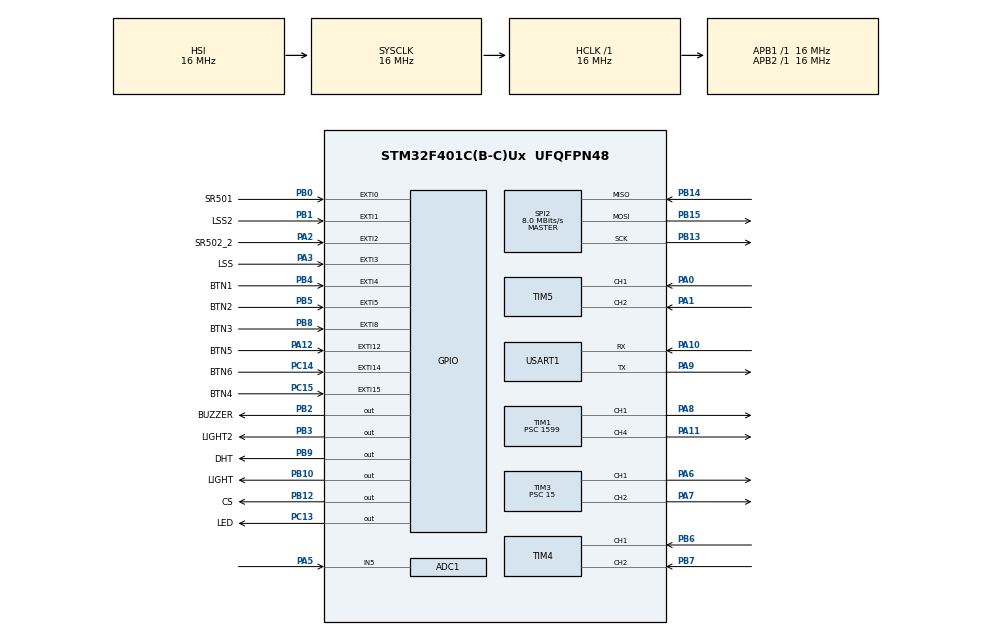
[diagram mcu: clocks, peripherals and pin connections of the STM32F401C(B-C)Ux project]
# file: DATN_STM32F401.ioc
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ADC1.Channel-0\#ChannelRegularConversion=ADC_CHANNEL_5
ADC1.NbrOfConversionFlag=1
ADC1.Rank-0\#ChannelRegularConversion=1
ADC1.SamplingTime-0\#ChannelRegularConversion=ADC_SAMPLETIME_3CYCLES
ADC1.master=1
Mcu.Family=STM32F4
Mcu.Name=STM32F401C(B-C)Ux
Mcu.Package=UFQFPN48
NVIC.EXTI0_IRQn=true\:5\:0\:true\:false\:true\:true\:true\:true
NVIC.EXTI15_10_IRQn=true\:6\:0\:true\:false\:true\:true\:true\:true
NVIC.EXTI1_IRQn=true\:5\:0\:true\:false\:true\:true\:true\:true
NVIC.EXTI2_IRQn=true\:5\:0\:true\:false\:true\:true\:true\:true
NVIC.EXTI3_IRQn=true\:5\:0\:true\:false\:true\:true\:true\:true
NVIC.EXTI4_IRQn=true\:6\:0\:true\:false\:true\:true\:true\:true
NVIC.EXTI9_5_IRQn=true\:6\:0\:true\:false\:true\:true\:true\:true
NVIC.PriorityGroup=NVIC_PRIORITYGROUP_4
NVIC.SPI2_IRQn=true\:7\:0\:true\:false\:true\:true\:true\:true
NVIC.TIM3_IRQn=true\:13\:0\:true\:false\:true\:true\:true\:true
NVIC.USART1_IRQn=true\:14\:0\:true\:false\:true\:true\:true\:true
PA0-WKUP.Signal=S_TIM5_CH1
PA1.Signal=S_TIM5_CH2
PA10.Mode=Asynchronous
PA10.Signal=USART1_RX
PA11.Signal=S_TIM1_CH4
PA12.GPIO_Label=BTN5
PA12.GPIO_ModeDefaultEXTI=GPIO_MODE_IT_FALLING
PA12.GPIO_PuPd=GPIO_PULLUP
PA12.Signal=GPXTI12
PA13.Mode=Serial_Wire
PA13.Signal=SYS_JTMS-SWDIO
PA14.Mode=Serial_Wire
PA14.Signal=SYS_JTCK-SWCLK
PA2.GPIO_Label=SR502_2
PA2.GPIO_ModeDefaultEXTI=GPIO_MODE_IT_RISING_FALLING
PA2.Signal=GPXTI2
PA3.GPIO_Label=LSS
PA3.GPIO_ModeDefaultEXTI=GPIO_MODE_IT_RISING_FALLING
PA3.Signal=GPXTI3
PA5.Signal=ADCx_IN5
PA6.Signal=S_TIM3_CH1
PA7.Signal=S_TIM3_CH2
PA8.Signal=S_TIM1_CH1
PA9.Mode=Asynchronous
PA9.Signal=USART1_TX
PB0.GPIO_Label=SR501
PB0.GPIO_ModeDefaultEXTI=GPIO_MODE_IT_RISING_FALLING
PB0.Signal=GPXTI0
PB1.GPIO_Label=LSS2
PB1.GPIO_ModeDefaultEXTI=GPIO_MODE_IT_RISING_FALLING
PB1.Signal=GPXTI1
PB10.GPIO_Label=LIGHT
PB10.Signal=GPIO_Output
PB12.GPIO_Label=CS
PB12.Signal=GPIO_Output
PB13.Mode=Full_Duplex_Master
PB13.Signal=SPI2_SCK
PB14.Mode=Full_Duplex_Master
PB14.Signal=SPI2_MISO
PB15.Mode=Full_Duplex_Master
PB15.Signal=SPI2_MOSI
PB2.GPIO_Label=BUZZER
PB2.PinState=GPIO_PIN_SET
PB2.Signal=GPIO_Output
PB3.GPIO_Label=LIGHT2
PB3.Signal=GPIO_Output
PB4.GPIO_Label=BTN1
PB4.GPIO_ModeDefaultEXTI=GPIO_MODE_IT_FALLING
PB4.GPIO_PuPd=GPIO_PULLUP
PB4.Signal=GPXTI4
PB5.GPIO_Label=BTN2
PB5.GPIO_ModeDefaultEXTI=GPIO_MODE_IT_FALLING
PB5.GPIO_PuPd=GPIO_PULLUP
PB5.Signal=GPXTI5
PB6.Signal=S_TIM4_CH1
PB7.Signal=S_TIM4_CH2
PB8.GPIO_Label=BTN3
PB8.GPIO_ModeDefaultEXTI=GPIO_MODE_IT_FALLING
PB8.GPIO_PuPd=GPIO_PULLUP
PB8.Signal=GPXTI8
PB9.GPIO_Label=DHT
PB9.GPIO_Speed=GPIO_SPEED_FREQ_HIGH
PB9.PinState=GPIO_PIN_RESET
PB9.Signal=GPIO_Output
PC13-ANTI_TAMP.GPIO_Label=LED
PC13-ANTI_TAMP.Signal=GPIO_Output
PC14-OSC32_IN.GPIO_Label=BTN6
PC14-OSC32_IN.GPIO_ModeDefaultEXTI=GPIO_MODE_IT_FALLING
PC14-OSC32_IN.GPIO_PuPd=GPIO_PULLUP
PC14-OSC32_IN.Signal=GPXTI14
PC15-OSC32_OUT.GPIO_Label=BTN4
PC15-OSC32_OUT.GPIO_ModeDefaultEXTI=GPIO_MODE_IT_FALLING
PC15-OSC32_OUT.GPIO_PuPd=GPIO_PULLUP
PC15-OSC32_OUT.Signal=GPXTI15
PH0\ -\ OSC_IN.Mode=HSE-External-Oscillator
PH0\ -\ OSC_IN.Signal=RCC_OSC_IN
PH1\ -\ OSC_OUT.Mode=HSE-External-Oscillator
PH1\ -\ OSC_OUT.Signal=RCC_OSC_OUT
ProjectManager.HeapSize=0x200
ProjectManager.StackSize=0x400
ProjectManager.TargetToolchain=STM32CubeIDE
RCC.AHBFreq_Value=16000000
RCC.APB1Freq_Value=16000000
RCC.APB2Freq_Value=16000000
RCC.CortexFreq_Value=16000000
RCC.HSE_VALUE=25000000
RCC.HSI_VALUE=16000000
RCC.LSE_VALUE=32768
RCC.SYSCLKFreq_VALUE=16000000
RCC.VCOOutputFreq_Value=192000000
SH.ADCx_IN5.0=ADC1_IN5,IN5
SH.S_TIM1_CH1.0=TIM1_CH1,PWM Generation1 CH1
SH.S_TIM1_CH4.0=TIM1_CH4,PWM Generation4 CH4
SH.S_TIM3_CH1.0=TIM3_CH1,PWM Generation1 CH1
SH.S_TIM3_CH2.0=TIM3_CH2,PWM Generation2 CH2
SH.S_TIM4_CH1.0=TIM4_CH1,Encoder_Interface
SH.S_TIM4_CH2.0=TIM4_CH2,Encoder_Interface
SH.S_TIM5_CH1.0=TIM5_CH1,Encoder_Interface
SH.S_TIM5_CH2.0=TIM5_CH2,Encoder_Interface
SPI2.CalculateBaudRate=8.0 MBits/s
SPI2.Direction=SPI_DIRECTION_2LINES
SPI2.Mode=SPI_MODE_MASTER
SPI2.VirtualType=VM_MASTER
TIM1.Channel-PWM\ Generation1\ CH1=TIM_CHANNEL_1
TIM1.Channel-PWM\ Generation4\ CH4=TIM_CHANNEL_4
TIM1.Period=199
TIM1.Prescaler=1599
TIM2.Prescaler=15
TIM3.Channel-PWM\ Generation1\ CH1=TIM_CHANNEL_1
TIM3.Channel-PWM\ Generation2\ CH2=TIM_CHANNEL_2
TIM3.Period=999
TIM3.Prescaler=15
TIM4.EncoderMode=TIM_ENCODERMODE_TI12
TIM5.EncoderMode=TIM_ENCODERMODE_TI12
USART1.VirtualMode=VM_ASYNC
VP_TIM1_VS_ClockSourceINT.Mode=Internal
VP_TIM2_VS_ClockSourceINT.Mode=Internal
VP_TIM3_VS_ClockSourceINT.Mode=Internal
board=custom

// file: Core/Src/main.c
/* USER CODE BEGIN Header */
/**
 ******************************************************************************
 * @file           : main.c
 * @brief          : Main program body
 ******************************************************************************
 * @attention
 *
 * Copyright (c) 2024 STMicroelectronics.
 * All rights reserved.
 *
 * This software is licensed under terms that can be found in the LICENSE file
 * in the root directory of this software component.
 * If no LICENSE file comes with this software, it is provided AS-IS.
 *
 ******************************************************************************
 */
/* USER CODE END Header */
#include "main.h"

/* USER CODE BEGIN Includes */
#include "stdio.h"
#include "stdint.h"
#include "stdlib.h"
#include "string.h"
#include "inttypes.h"
#include "W25Q32/W25Q32.h"
/* USER CODE END Includes */

/* USER CODE BEGIN PTD */
typedef struct {
	uint8_t hum;
	uint8_t hum0;
	uint8_t tem;
	uint8_t tem0;
	uint8_t check_sum;
} dht22;
/* USER CODE END PTD */

/* USER CODE BEGIN PD */
#define UART_TIMEOUT		2				// 2 ms
#define DHT_TIMEOUT			5
#define INPUT 				0
#define OUTPUT				1
#define DURATION			30 * 1000
#define SECTOR_USE			41
#define RETRY				5
/* USER CODE END PD */

ADC_HandleTypeDef hadc1;

SPI_HandleTypeDef hspi2;

TIM_HandleTypeDef htim1;
TIM_HandleTypeDef htim2;
TIM_HandleTypeDef htim3;
TIM_HandleTypeDef htim4;
TIM_HandleTypeDef htim5;

UART_HandleTypeDef huart1;

/* USER CODE BEGIN PV */

// UART
uint8_t uart_buf[100];
uint8_t tx[1024];
uint8_t uart_buf_cnt = 0;
uint8_t uart_chr;
uint32_t uart_last_rcv = 0;

// Timer
uint32_t g_sys_tick = 0;
uint32_t delay_tick = 0;
uint32_t test_tick = 0;
uint32_t dur_tick = 0;

// LED PC13
uint32_t led_tick = 0;

// LIGHT
uint8_t led1 = 0;
uint8_t led2 = 0;
uint8_t led_state = 0;
uint8_t led_state_2 = 0;
uint8_t led_mod = 0;
uint8_t led_mod_2 = 0;
uint8_t l_done;
uint8_t l_done_2;
uint32_t lss_tick = 0;

// SR501
uint8_t sr501_state = 0;
uint8_t sr501_state_2 = 0;

// SG90
uint8_t door1 = 0;
uint8_t door2 = 0;
uint8_t d_mod = 0;					// door mode (0:manual 1:auto)
uint8_t d_mod_2 = 0;
uint8_t door_state = 0;
uint8_t door_state_2 = 0;
uint8_t d_done = 0;
uint8_t d_done_2 = 0;

//buzzer
uint8_t buz_done = 0;
uint32_t buz_tick = 0;
uint8_t buz_lvl = 0;
uint8_t buz_state = 0;

//encoder motor
uint8_t fan1 = 0;
uint8_t fan2 = 0;
uint8_t speed = 0;
uint8_t speed_2 = 0;
uint8_t f_done = 0;
uint8_t f_done_2 = 0;
int motor_speed = 0;
int motor_speed_2 = 0;
uint32_t en_cnt = 0;
uint32_t en_cnt_2 = 0;

// mq2
uint16_t adc_val = 0;

// dht22
dht22 dht;
float tem = 0;
float hum = 0;
uint32_t time_out = 0;
uint8_t dht_err = 0;

// button
uint32_t btn_tick = 0;

bool rx_spi_flg = 0;

uint8_t flash_data[100];

uint8_t test = 0;

uint8_t isDebug = 0;
/* USER CODE END PV */

void SystemClock_Config(void);
static void MX_GPIO_Init(void);
static void MX_ADC1_Init(void);
static void MX_SPI2_Init(void);
static void MX_TIM1_Init(void);
static void MX_TIM2_Init(void);
static void MX_TIM3_Init(void);
static void MX_TIM4_Init(void);
static void MX_TIM5_Init(void);
static void MX_USART1_UART_Init(void);
/* USER CODE BEGIN PFP */
void gpio_set_mode(uint8_t mode);					// input/output: 0/1

void HAL_GPIO_EXTI_Callback(uint16_t GPIO_Pin);		// for sr501
void HAL_TIM_PeriodElapsedCallback(TIM_HandleTypeDef *htim);
void HAL_TIM_PeriodElapsedCallback(TIM_HandleTypeDef *htim);

//void First_Start();

void Blink_Led();
void Handle_Command();

// SR501
void SR501_getState();

// SG90
void SG90_Program();
void control_door();

// encoder motor
void motor_Program();
void en_motor();
void motor_get_speed();
uint8_t check_speed(int encoder_val);

// LED
void control_led();

// Buzzer
void warning();
void buzzer();
void alarm();

void getADC_value();

// dht22
void delay_us(uint32_t us);
void init_dht22();
void dht22_GetValue(dht22 *dht);

void Flash_write_info();
void Flash_get_info();

// response
void Response();					// sent data to esp32
void Send_data();

void Handle_Command();
void clear_uart_buf();
/* USER CODE END PFP */

int main(void) {

	/* MCU Configuration--------------------------------------------------------*/

	/* Reset of all peripherals, Initializes the Flash interface and the Systick. */
	HAL_Init();

	/* Configure the system clock */
	SystemClock_Config();

	/* Initialize all configured peripherals */
	MX_GPIO_Init();
	MX_ADC1_Init();
	MX_SPI2_Init();
	MX_TIM1_Init();
	MX_TIM2_Init();
	MX_TIM3_Init();
	MX_TIM4_Init();
	MX_TIM5_Init();
	MX_USART1_UART_Init();
	/* USER CODE BEGIN 2 */
	HAL_UART_Receive_IT(&huart1, &uart_chr, sizeof(uart_chr));
	HAL_TIM_Base_Start_IT(&htim3);
	HAL_TIM_Base_Start(&htim2);
	HAL_TIM_PWM_Start(&htim3, TIM_CHANNEL_1);
	HAL_TIM_PWM_Start(&htim3, TIM_CHANNEL_2);
	HAL_TIM_PWM_Start(&htim1, TIM_CHANNEL_1);
	HAL_TIM_PWM_Start(&htim1, TIM_CHANNEL_4);
	HAL_TIM_Encoder_Start(&htim4, TIM_CHANNEL_1 | TIM_CHANNEL_2);
	HAL_TIM_Encoder_Start(&htim5, TIM_CHANNEL_1 | TIM_CHANNEL_2);
	init_dht22();
	W25Q32_Init(&hspi2, GPIOB, GPIO_PIN_12);
	HAL_GPIO_WritePin(GPIOB, GPIO_PIN_2, 1);
//	First_Start();
	Flash_get_info();
	Response();
	/* USER CODE END 2 */

	/* Infinite loop */
	/* USER CODE BEGIN WHILE */
	while (1) {
		Blink_Led();
		Handle_Command();
		en_motor();
		control_door();
		control_led();
		Send_data();
		buzzer();
		/* Test case for encoder motor*/
//		if (g_sys_tick - test_tick >= 1000) {
//			motor_get_speed();
//			en_cnt_2 = __HAL_TIM_GetCounter(&htim4);
//			HAL_UART_Transmit(&huart1, tx, strlen((char*) tx), 200);
//			test_tick = g_sys_tick;
//		}
		/*Test case for servo motor*/
//		if (g_sys_tick - test_tick >= 1000) {
//			test = HAL_GPIO_ReadPin(GPIOB, GPIO_PIN_0);
//			sprintf((char*) tx, "SR501: %d\n", test);
//			HAL_UART_Transmit(&huart1, tx, strlen((char*) tx), 200);
//			test_tick = g_sys_tick;
//		}
		/* USER CODE END WHILE */

	}
}

void SystemClock_Config(void) {
	RCC_OscInitTypeDef RCC_OscInitStruct = { 0 };
	RCC_ClkInitTypeDef RCC_ClkInitStruct = { 0 };

	/** Configure the main internal regulator output voltage
	 */
	__HAL_RCC_PWR_CLK_ENABLE();
	__HAL_PWR_VOLTAGESCALING_CONFIG(PWR_REGULATOR_VOLTAGE_SCALE2);

	/** Initializes the RCC Oscillators according to the specified parameters
	 * in the RCC_OscInitTypeDef structure.
	 */
	RCC_OscInitStruct.OscillatorType = RCC_OSCILLATORTYPE_HSI;
	RCC_OscInitStruct.HSIState = RCC_HSI_ON;
	RCC_OscInitStruct.HSICalibrationValue = RCC_HSICALIBRATION_DEFAULT;
	RCC_OscInitStruct.PLL.PLLState = RCC_PLL_NONE;
	if (HAL_RCC_OscConfig(&RCC_OscInitStruct) != HAL_OK) {
		Error_Handler();
	}

	/** Initializes the CPU, AHB and APB buses clocks
	 */
	RCC_ClkInitStruct.ClockType = RCC_CLOCKTYPE_HCLK | RCC_CLOCKTYPE_SYSCLK
			| RCC_CLOCKTYPE_PCLK1 | RCC_CLOCKTYPE_PCLK2;
	RCC_ClkInitStruct.SYSCLKSource = RCC_SYSCLKSOURCE_HSI;
	RCC_ClkInitStruct.AHBCLKDivider = RCC_SYSCLK_DIV1;
	RCC_ClkInitStruct.APB1CLKDivider = RCC_HCLK_DIV1;
	RCC_ClkInitStruct.APB2CLKDivider = RCC_HCLK_DIV1;

	if (HAL_RCC_ClockConfig(&RCC_ClkInitStruct, FLASH_LATENCY_0) != HAL_OK) {
		Error_Handler();
	}
}

static void MX_ADC1_Init(void) {

	ADC_ChannelConfTypeDef sConfig = { 0 };

	/** Configure the global features of the ADC (Clock, Resolution, Data Alignment and number of conversion)
	 */
	hadc1.Instance = ADC1;
	hadc1.Init.ClockPrescaler = ADC_CLOCK_SYNC_PCLK_DIV2;
	hadc1.Init.Resolution = ADC_RESOLUTION_12B;
	hadc1.Init.ScanConvMode = DISABLE;
	hadc1.Init.ContinuousConvMode = DISABLE;
	hadc1.Init.DiscontinuousConvMode = DISABLE;
	hadc1.Init.ExternalTrigConvEdge = ADC_EXTERNALTRIGCONVEDGE_NONE;
	hadc1.Init.ExternalTrigConv = ADC_SOFTWARE_START;
	hadc1.Init.DataAlign = ADC_DATAALIGN_RIGHT;
	hadc1.Init.NbrOfConversion = 1;
	hadc1.Init.DMAContinuousRequests = DISABLE;
	hadc1.Init.EOCSelection = ADC_EOC_SINGLE_CONV;
	if (HAL_ADC_Init(&hadc1) != HAL_OK) {
		Error_Handler();
	}

	/** Configure for the selected ADC regular channel its corresponding rank in the sequencer and its sample time.
	 */
	sConfig.Channel = ADC_CHANNEL_5;
	sConfig.Rank = 1;
	sConfig.SamplingTime = ADC_SAMPLETIME_3CYCLES;
	if (HAL_ADC_ConfigChannel(&hadc1, &sConfig) != HAL_OK) {
		Error_Handler();
	}

}

static void MX_SPI2_Init(void) {

	/* SPI2 parameter configuration*/
	hspi2.Instance = SPI2;
	hspi2.Init.Mode = SPI_MODE_MASTER;
	hspi2.Init.Direction = SPI_DIRECTION_2LINES;
	hspi2.Init.DataSize = SPI_DATASIZE_8BIT;
	hspi2.Init.CLKPolarity = SPI_POLARITY_LOW;
	hspi2.Init.CLKPhase = SPI_PHASE_1EDGE;
	hspi2.Init.NSS = SPI_NSS_SOFT;
	hspi2.Init.BaudRatePrescaler = SPI_BAUDRATEPRESCALER_2;
	hspi2.Init.FirstBit = SPI_FIRSTBIT_MSB;
	hspi2.Init.TIMode = SPI_TIMODE_DISABLE;
	hspi2.Init.CRCCalculation = SPI_CRCCALCULATION_DISABLE;
	hspi2.Init.CRCPolynomial = 10;
	if (HAL_SPI_Init(&hspi2) != HAL_OK) {
		Error_Handler();
	}

}

static void MX_TIM1_Init(void) {

	TIM_ClockConfigTypeDef sClockSourceConfig = { 0 };
	TIM_MasterConfigTypeDef sMasterConfig = { 0 };
	TIM_OC_InitTypeDef sConfigOC = { 0 };
	TIM_BreakDeadTimeConfigTypeDef sBreakDeadTimeConfig = { 0 };

	htim1.Instance = TIM1;
	htim1.Init.Prescaler = 1599;
	htim1.Init.CounterMode = TIM_COUNTERMODE_UP;
	htim1.Init.Period = 199;
	htim1.Init.ClockDivision = TIM_CLOCKDIVISION_DIV1;
	htim1.Init.RepetitionCounter = 0;
	htim1.Init.AutoReloadPreload = TIM_AUTORELOAD_PRELOAD_DISABLE;
	if (HAL_TIM_Base_Init(&htim1) != HAL_OK) {
		Error_Handler();
	}
	sClockSourceConfig.ClockSource = TIM_CLOCKSOURCE_INTERNAL;
	if (HAL_TIM_ConfigClockSource(&htim1, &sClockSourceConfig) != HAL_OK) {
		Error_Handler();
	}
	if (HAL_TIM_PWM_Init(&htim1) != HAL_OK) {
		Error_Handler();
	}
	sMasterConfig.MasterOutputTrigger = TIM_TRGO_RESET;
	sMasterConfig.MasterSlaveMode = TIM_MASTERSLAVEMODE_DISABLE;
	if (HAL_TIMEx_MasterConfigSynchronization(&htim1, &sMasterConfig)
			!= HAL_OK) {
		Error_Handler();
	}
	sConfigOC.OCMode = TIM_OCMODE_PWM1;
	sConfigOC.Pulse = 0;
	sConfigOC.OCPolarity = TIM_OCPOLARITY_HIGH;
	sConfigOC.OCNPolarity = TIM_OCNPOLARITY_HIGH;
	sConfigOC.OCFastMode = TIM_OCFAST_DISABLE;
	sConfigOC.OCIdleState = TIM_OCIDLESTATE_RESET;
	sConfigOC.OCNIdleState = TIM_OCNIDLESTATE_RESET;
	if (HAL_TIM_PWM_ConfigChannel(&htim1, &sConfigOC, TIM_CHANNEL_1)
			!= HAL_OK) {
		Error_Handler();
	}
	if (HAL_TIM_PWM_ConfigChannel(&htim1, &sConfigOC, TIM_CHANNEL_4)
			!= HAL_OK) {
		Error_Handler();
	}
	sBreakDeadTimeConfig.OffStateRunMode = TIM_OSSR_DISABLE;
	sBreakDeadTimeConfig.OffStateIDLEMode = TIM_OSSI_DISABLE;
	sBreakDeadTimeConfig.LockLevel = TIM_LOCKLEVEL_OFF;
	sBreakDeadTimeConfig.DeadTime = 0;
	sBreakDeadTimeConfig.BreakState = TIM_BREAK_DISABLE;
	sBreakDeadTimeConfig.BreakPolarity = TIM_BREAKPOLARITY_HIGH;
	sBreakDeadTimeConfig.AutomaticOutput = TIM_AUTOMATICOUTPUT_DISABLE;
	if (HAL_TIMEx_ConfigBreakDeadTime(&htim1, &sBreakDeadTimeConfig)
			!= HAL_OK) {
		Error_Handler();
	}
	HAL_TIM_MspPostInit(&htim1);

}

static void MX_TIM2_Init(void) {

	TIM_ClockConfigTypeDef sClockSourceConfig = { 0 };
	TIM_MasterConfigTypeDef sMasterConfig = { 0 };

	htim2.Instance = TIM2;
	htim2.Init.Prescaler = 15;
	htim2.Init.CounterMode = TIM_COUNTERMODE_UP;
	htim2.Init.Period = 4294967295;
	htim2.Init.ClockDivision = TIM_CLOCKDIVISION_DIV1;
	htim2.Init.AutoReloadPreload = TIM_AUTORELOAD_PRELOAD_DISABLE;
	if (HAL_TIM_Base_Init(&htim2) != HAL_OK) {
		Error_Handler();
	}
	sClockSourceConfig.ClockSource = TIM_CLOCKSOURCE_INTERNAL;
	if (HAL_TIM_ConfigClockSource(&htim2, &sClockSourceConfig) != HAL_OK) {
		Error_Handler();
	}
	sMasterConfig.MasterOutputTrigger = TIM_TRGO_RESET;
	sMasterConfig.MasterSlaveMode = TIM_MASTERSLAVEMODE_DISABLE;
	if (HAL_TIMEx_MasterConfigSynchronization(&htim2, &sMasterConfig)
			!= HAL_OK) {
		Error_Handler();
	}

}

static void MX_TIM3_Init(void) {

	TIM_ClockConfigTypeDef sClockSourceConfig = { 0 };
	TIM_MasterConfigTypeDef sMasterConfig = { 0 };
	TIM_OC_InitTypeDef sConfigOC = { 0 };

	htim3.Instance = TIM3;
	htim3.Init.Prescaler = 15;
	htim3.Init.CounterMode = TIM_COUNTERMODE_UP;
	htim3.Init.Period = 999;
	htim3.Init.ClockDivision = TIM_CLOCKDIVISION_DIV1;
	htim3.Init.AutoReloadPreload = TIM_AUTORELOAD_PRELOAD_DISABLE;
	if (HAL_TIM_Base_Init(&htim3) != HAL_OK) {
		Error_Handler();
	}
	sClockSourceConfig.ClockSource = TIM_CLOCKSOURCE_INTERNAL;
	if (HAL_TIM_ConfigClockSource(&htim3, &sClockSourceConfig) != HAL_OK) {
		Error_Handler();
	}
	if (HAL_TIM_PWM_Init(&htim3) != HAL_OK) {
		Error_Handler();
	}
	sMasterConfig.MasterOutputTrigger = TIM_TRGO_RESET;
	sMasterConfig.MasterSlaveMode = TIM_MASTERSLAVEMODE_DISABLE;
	if (HAL_TIMEx_MasterConfigSynchronization(&htim3, &sMasterConfig)
			!= HAL_OK) {
		Error_Handler();
	}
	sConfigOC.OCMode = TIM_OCMODE_PWM1;
	sConfigOC.Pulse = 0;
	sConfigOC.OCPolarity = TIM_OCPOLARITY_HIGH;
	sConfigOC.OCFastMode = TIM_OCFAST_DISABLE;
	if (HAL_TIM_PWM_ConfigChannel(&htim3, &sConfigOC, TIM_CHANNEL_1)
			!= HAL_OK) {
		Error_Handler();
	}
	if (HAL_TIM_PWM_ConfigChannel(&htim3, &sConfigOC, TIM_CHANNEL_2)
			!= HAL_OK) {
		Error_Handler();
	}
	HAL_TIM_MspPostInit(&htim3);

}

static void MX_TIM4_Init(void) {

	TIM_Encoder_InitTypeDef sConfig = { 0 };
	TIM_MasterConfigTypeDef sMasterConfig = { 0 };

	htim4.Instance = TIM4;
	htim4.Init.Prescaler = 0;
	htim4.Init.CounterMode = TIM_COUNTERMODE_UP;
	htim4.Init.Period = 65535;
	htim4.Init.ClockDivision = TIM_CLOCKDIVISION_DIV1;
	htim4.Init.AutoReloadPreload = TIM_AUTORELOAD_PRELOAD_DISABLE;
	sConfig.EncoderMode = TIM_ENCODERMODE_TI12;
	sConfig.IC1Polarity = TIM_ICPOLARITY_RISING;
	sConfig.IC1Selection = TIM_ICSELECTION_DIRECTTI;
	sConfig.IC1Prescaler = TIM_ICPSC_DIV1;
	sConfig.IC1Filter = 0;
	sConfig.IC2Polarity = TIM_ICPOLARITY_RISING;
	sConfig.IC2Selection = TIM_ICSELECTION_DIRECTTI;
	sConfig.IC2Prescaler = TIM_ICPSC_DIV1;
	sConfig.IC2Filter = 0;
	if (HAL_TIM_Encoder_Init(&htim4, &sConfig) != HAL_OK) {
		Error_Handler();
	}
	sMasterConfig.MasterOutputTrigger = TIM_TRGO_RESET;
	sMasterConfig.MasterSlaveMode = TIM_MASTERSLAVEMODE_DISABLE;
	if (HAL_TIMEx_MasterConfigSynchronization(&htim4, &sMasterConfig)
			!= HAL_OK) {
		Error_Handler();
	}

}

static void MX_TIM5_Init(void) {

	TIM_Encoder_InitTypeDef sConfig = { 0 };
	TIM_MasterConfigTypeDef sMasterConfig = { 0 };

	htim5.Instance = TIM5;
	htim5.Init.Prescaler = 0;
	htim5.Init.CounterMode = TIM_COUNTERMODE_UP;
	htim5.Init.Period = 4294967295;
	htim5.Init.ClockDivision = TIM_CLOCKDIVISION_DIV1;
	htim5.Init.AutoReloadPreload = TIM_AUTORELOAD_PRELOAD_DISABLE;
	sConfig.EncoderMode = TIM_ENCODERMODE_TI12;
	sConfig.IC1Polarity = TIM_ICPOLARITY_RISING;
	sConfig.IC1Selection = TIM_ICSELECTION_DIRECTTI;
	sConfig.IC1Prescaler = TIM_ICPSC_DIV1;
	sConfig.IC1Filter = 0;
	sConfig.IC2Polarity = TIM_ICPOLARITY_RISING;
	sConfig.IC2Selection = TIM_ICSELECTION_DIRECTTI;
	sConfig.IC2Prescaler = TIM_ICPSC_DIV1;
	sConfig.IC2Filter = 0;
	if (HAL_TIM_Encoder_Init(&htim5, &sConfig) != HAL_OK) {
		Error_Handler();
	}
	sMasterConfig.MasterOutputTrigger = TIM_TRGO_RESET;
	sMasterConfig.MasterSlaveMode = TIM_MASTERSLAVEMODE_DISABLE;
	if (HAL_TIMEx_MasterConfigSynchronization(&htim5, &sMasterConfig)
			!= HAL_OK) {
		Error_Handler();
	}

}

static void MX_USART1_UART_Init(void) {

	huart1.Instance = USART1;
	huart1.Init.BaudRate = 115200;
	huart1.Init.WordLength = UART_WORDLENGTH_8B;
	huart1.Init.StopBits = UART_STOPBITS_1;
	huart1.Init.Parity = UART_PARITY_NONE;
	huart1.Init.Mode = UART_MODE_TX_RX;
	huart1.Init.HwFlowCtl = UART_HWCONTROL_NONE;
	huart1.Init.OverSampling = UART_OVERSAMPLING_16;
	if (HAL_UART_Init(&huart1) != HAL_OK) {
		Error_Handler();
	}

}

static void MX_GPIO_Init(void) {
	GPIO_InitTypeDef GPIO_InitStruct = { 0 };

	/* GPIO Ports Clock Enable */
	__HAL_RCC_GPIOC_CLK_ENABLE();
	__HAL_RCC_GPIOH_CLK_ENABLE();
	__HAL_RCC_GPIOA_CLK_ENABLE();
	__HAL_RCC_GPIOB_CLK_ENABLE();

	/*Configure GPIO pin Output Level */
	HAL_GPIO_WritePin(LED_GPIO_Port, LED_Pin, GPIO_PIN_RESET);

	/*Configure GPIO pin Output Level */
	HAL_GPIO_WritePin(BUZZER_GPIO_Port, BUZZER_Pin, GPIO_PIN_SET);

	/*Configure GPIO pin Output Level */
	HAL_GPIO_WritePin(GPIOB, LIGHT_Pin | CS_Pin | LIGHT2_Pin | DHT_Pin,
			GPIO_PIN_RESET);

	/*Configure GPIO pin : LED_Pin */
	GPIO_InitStruct.Pin = LED_Pin;
	GPIO_InitStruct.Mode = GPIO_MODE_OUTPUT_PP;
	GPIO_InitStruct.Pull = GPIO_NOPULL;
	GPIO_InitStruct.Speed = GPIO_SPEED_FREQ_LOW;
	HAL_GPIO_Init(LED_GPIO_Port, &GPIO_InitStruct);

	/*Configure GPIO pins : BTN6_Pin BTN4_Pin */
	GPIO_InitStruct.Pin = BTN6_Pin | BTN4_Pin;
	GPIO_InitStruct.Mode = GPIO_MODE_IT_FALLING;
	GPIO_InitStruct.Pull = GPIO_PULLUP;
	HAL_GPIO_Init(GPIOC, &GPIO_InitStruct);

	/*Configure GPIO pins : SR502_2_Pin LSS_Pin */
	GPIO_InitStruct.Pin = SR502_2_Pin | LSS_Pin;
	GPIO_InitStruct.Mode = GPIO_MODE_IT_RISING_FALLING;
	GPIO_InitStruct.Pull = GPIO_NOPULL;
	HAL_GPIO_Init(GPIOA, &GPIO_InitStruct);

	/*Configure GPIO pins : SR501_Pin LSS2_Pin */
	GPIO_InitStruct.Pin = SR501_Pin | LSS2_Pin;
	GPIO_InitStruct.Mode = GPIO_MODE_IT_RISING_FALLING;
	GPIO_InitStruct.Pull = GPIO_NOPULL;
	HAL_GPIO_Init(GPIOB, &GPIO_InitStruct);

	/*Configure GPIO pins : BUZZER_Pin LIGHT_Pin CS_Pin LIGHT2_Pin */
	GPIO_InitStruct.Pin = BUZZER_Pin | LIGHT_Pin | CS_Pin | LIGHT2_Pin;
	GPIO_InitStruct.Mode = GPIO_MODE_OUTPUT_PP;
	GPIO_InitStruct.Pull = GPIO_NOPULL;
	GPIO_InitStruct.Speed = GPIO_SPEED_FREQ_LOW;
	HAL_GPIO_Init(GPIOB, &GPIO_InitStruct);

	/*Configure GPIO pin : BTN5_Pin */
	GPIO_InitStruct.Pin = BTN5_Pin;
	GPIO_InitStruct.Mode = GPIO_MODE_IT_FALLING;
	GPIO_InitStruct.Pull = GPIO_PULLUP;
	HAL_GPIO_Init(BTN5_GPIO_Port, &GPIO_InitStruct);

	/*Configure GPIO pins : BTN1_Pin BTN2_Pin BTN3_Pin */
	GPIO_InitStruct.Pin = BTN1_Pin | BTN2_Pin | BTN3_Pin;
	GPIO_InitStruct.Mode = GPIO_MODE_IT_FALLING;
	GPIO_InitStruct.Pull = GPIO_PULLUP;
	HAL_GPIO_Init(GPIOB, &GPIO_InitStruct);

	/*Configure GPIO pin : DHT_Pin */
	GPIO_InitStruct.Pin = DHT_Pin;
	GPIO_InitStruct.Mode = GPIO_MODE_OUTPUT_PP;
	GPIO_InitStruct.Pull = GPIO_NOPULL;
	GPIO_InitStruct.Speed = GPIO_SPEED_FREQ_HIGH;
	HAL_GPIO_Init(DHT_GPIO_Port, &GPIO_InitStruct);

	/* EXTI interrupt init*/
	HAL_NVIC_SetPriority(EXTI0_IRQn, 5, 0);
	HAL_NVIC_EnableIRQ(EXTI0_IRQn);

	HAL_NVIC_SetPriority(EXTI1_IRQn, 5, 0);
	HAL_NVIC_EnableIRQ(EXTI1_IRQn);

	HAL_NVIC_SetPriority(EXTI2_IRQn, 5, 0);
	HAL_NVIC_EnableIRQ(EXTI2_IRQn);

	HAL_NVIC_SetPriority(EXTI3_IRQn, 5, 0);
	HAL_NVIC_EnableIRQ(EXTI3_IRQn);

	HAL_NVIC_SetPriority(EXTI4_IRQn, 6, 0);
	HAL_NVIC_EnableIRQ(EXTI4_IRQn);

	HAL_NVIC_SetPriority(EXTI9_5_IRQn, 6, 0);
	HAL_NVIC_EnableIRQ(EXTI9_5_IRQn);

	HAL_NVIC_SetPriority(EXTI15_10_IRQn, 6, 0);
	HAL_NVIC_EnableIRQ(EXTI15_10_IRQn);

}

/* USER CODE BEGIN 4 */
//void First_Start() {
//	l_done = 1;
//	l_done_2 = 1;
//	d_done = 1;
//	d_done_2 = 1;
//	f_done = 1;
//	f_done_2 = 1;
//}
void gpio_set_mode(uint8_t mode) {
	GPIO_InitTypeDef GPIO_InitStruct = { 0 };
	if (mode) {						// output
		GPIO_InitStruct.Pin = GPIO_PIN_9;
		GPIO_InitStruct.Mode = GPIO_MODE_OUTPUT_PP;
		GPIO_InitStruct.Pull = GPIO_NOPULL;
		GPIO_InitStruct.Speed = GPIO_SPEED_FREQ_HIGH;
		HAL_GPIO_Init(GPIOB, &GPIO_InitStruct);
	} else {							// input
		GPIO_InitStruct.Pin = GPIO_PIN_9;
		GPIO_InitStruct.Mode = GPIO_MODE_INPUT;
		GPIO_InitStruct.Pull = GPIO_NOPULL;
		HAL_GPIO_Init(GPIOB, &GPIO_InitStruct);
	}
}

void Response() {
	dht22_GetValue(&dht);
	getADC_value();
	motor_get_speed();
//	sprintf((char*) tx, "tem:%.1f\thum:%.1f\tmq2:%d\tdr1:%" PRIu8 "\tdm1:%" PRIu8 "\tds1:%" PRIu8 "\tdr2:%"
//            PRIu8 "\tdm2:%" PRIu8 "\tds2:%" PRIu8 "\tfn1:%" PRIu8 "\tfs1:%" PRIu8 "\tfn2:%" PRIu8
//            "\tfs2:%" PRIu8 "\tld1:%" PRIu8 "\tlm1:%" PRIu8 "\tls1:%" PRIu8 "\tld2:%" PRIu8 "\tlm2:%"
//            PRIu8 "\tls2:%" PRIu8 "\tbuz:%" PRIu8,
//			tem, hum, adc_val, door1, d_mod, door_state,
//			door2, d_mod_2, door_state_2,
//			fan1, motor_speed, fan2, motor_speed_2,
//			led1, led_mod, led_state,
//			led2, led_mod_2, led_state_2,
//			buz_state);
	Flash_write_info();

	sprintf((char*) tx,
			"tem:%.1f\thum:%.1f\tmq2:%d\tdr1:%d\tdm1:%d\tds1:%d\tdr2:%d\tdm2:%d\tds2:%d\tfn1:%d\tfs1:%d\tfn2:%d\tfs2:%d\tld1:%d\tlm1:%d\tls1:%d\tld2:%d\tlm2:%d\tls2:%d\tbuz:%d",
			tem, hum, adc_val, door1, d_mod, door_state, door2, d_mod_2,
			door_state_2, fan1, motor_speed, fan2, motor_speed_2, led1, led_mod,
			led_state, led2, led_mod_2, led_state_2, buz_state);
//	sprintf((char*) tx, "UART len: %d, data:%s\n",
//			strlen((char*) uart_buf),
//			uart_buf);
	HAL_UART_Transmit(&huart1, tx, strlen((char*) tx), 200);
}

void Flash_write_info() {
	sprintf((char*) flash_data, "%d %d %d %d %d %d %d %d %d %d", door1, d_mod,
			door2, d_mod_2, fan1, fan2, led1, led_mod, led2, led_mod_2);
	W25Q32_erase4k(SECTOR_USE * SECTOR_SIZE);
	W25Q32_WriteData(flash_data, SECTOR_USE * SECTOR_SIZE,
			strlen((char*) flash_data));
//	HAL_UART_Transmit(&huart1, flash_data, strlen((char*) flash_data), 200);
}

void Flash_get_info() {
	W25Q32_ReadData(flash_data, SECTOR_USE * SECTOR_SIZE, 19);
//	HAL_UART_Transmit(&huart1, flash_data, strlen((char*) flash_data), 200);
//	sscanf((char*) flash_data, "%d %d %d %d %d %d %d %d %d %d",
//			&door1, &d_mod, &door2, &d_mod_2,
//			&fan1, &fan2, &led1, &led_mod,
//			&led2, &led_mod_2);
	sscanf((char*) flash_data,
			"%hhu %hhu %hhu %hhu %hhu %hhu %hhu %hhu %hhu %hhu", &door1, &d_mod,
			&door2, &d_mod_2, &fan1, &fan2, &led1, &led_mod, &led2, &led_mod_2);
}

void Send_data() {
	if (g_sys_tick - dur_tick >= DURATION) {
		Response();
		dur_tick = g_sys_tick;
	}
}

void Handle_Command() {
	if (g_sys_tick - uart_last_rcv >= 20 && strlen((char*) uart_buf) >= 7) {
		// LIGHT command
		if (isDebug) {
			HAL_UART_Transmit(&huart1, uart_buf, strlen((char*) uart_buf), 200);
		}
		if (strlen((char*) uart_buf) == 7
				&& strncmp((char*) uart_buf, "c:l:1:", 6) == 0) {
			led1 = atoi((char*) uart_buf + 6);
			clear_uart_buf();
			if (isDebug) {
				sprintf((char*) tx, "LED 1 active: %d\n", led1);
				HAL_UART_Transmit(&huart1, tx, strlen((char*) tx), 200);
			}
			Response();
		} else if (strlen((char*) uart_buf) == 7
				&& strncmp((char*) uart_buf, "c:l:2:", 6) == 0) {
			led2 = atoi((char*) uart_buf + 6);
			clear_uart_buf();
			if (isDebug) {
				sprintf((char*) tx, "LED 2 active: %d\n", led2);
				HAL_UART_Transmit(&huart1, tx, strlen((char*) tx), 200);
			}
			Response();
		} else if (strncmp((char*) uart_buf, "c:l:1:m:", 8) == 0
				&& strlen((char*) uart_buf) == 9) {
			l_done = 1;
			led_mod = atoi((char*) uart_buf + 8);
			clear_uart_buf();
			if (isDebug) {
				sprintf((char*) tx, "LED 1 mode: %d\n", led_mod);
				HAL_UART_Transmit(&huart1, tx, strlen((char*) tx), 200);
			}
		} else if (strlen((char*) uart_buf) == 9
				&& strncmp((char*) uart_buf, "c:l:2:m:", 8) == 0) {
			l_done_2 = 1;
			led_mod_2 = atoi((char*) uart_buf + 8);
			clear_uart_buf();
			if (isDebug) {
				sprintf((char*) tx, "LED 2 mode: %d\n", led_mod_2);
				HAL_UART_Transmit(&huart1, tx, strlen((char*) tx), 200);
			}
		} else if (strlen((char*) uart_buf) == 9
				&& strncmp((char*) uart_buf, "c:l:1:s:", 8) == 0) {
			l_done = 1;
			led_state = atoi((char*) uart_buf + 8);
			clear_uart_buf();
			if (isDebug) {
				sprintf((char*) tx, "LED 1 state: %d\n", led_state);
				HAL_UART_Transmit(&huart1, tx, strlen((char*) tx), 200);
			}
		} else if (strlen((char*) uart_buf) == 9
				&& strncmp((char*) uart_buf, "c:l:2:s:", 8) == 0) {
			l_done_2 = 1;
			led_state_2 = atoi((char*) uart_buf + 8);
			clear_uart_buf();
			if (isDebug) {
				sprintf((char*) tx, "LED 2 state: %d\n", led_state_2);
				HAL_UART_Transmit(&huart1, tx, strlen((char*) tx), 200);
			}
		}

		// FAN command
		else if (strlen((char*) uart_buf) == 7
				&& strncmp((char*) uart_buf, "c:f:1:", 6) == 0) {
			fan1 = atoi((char*) uart_buf + 6);
			clear_uart_buf();
			if (isDebug) {
				sprintf((char*) tx, "fan 1 active: %d\n", fan1);
				HAL_UART_Transmit(&huart1, tx, strlen((char*) tx), 200);
			}
			Response();
		} else if (strlen((char*) uart_buf) == 7
				&& strncmp((char*) uart_buf, "c:f:2:", 6) == 0) {
			fan2 = atoi((char*) uart_buf + 6);
			clear_uart_buf();
			if (isDebug) {
				sprintf((char*) tx, "fan 2 active: %d\n", fan2);
				HAL_UART_Transmit(&huart1, tx, strlen((char*) tx), 200);
			}
			Response();
		} else if (strlen((char*) uart_buf) == 9
				&& strncmp((char*) uart_buf, "c:f:1:s:", 8) == 0) {
			f_done = 1;
			speed = atoi((char*) uart_buf + 8);
			clear_uart_buf();
			if (isDebug) {
				sprintf((char*) tx, "fan 1 speed: %d\n", speed);
				HAL_UART_Transmit(&huart1, tx, strlen((char*) tx), 200);
			}
		} else if (strlen((char*) uart_buf) == 9
				&& strncmp((char*) uart_buf, "c:f:2:s:", 8) == 0) {
			f_done_2 = 1;
			speed_2 = atoi((char*) uart_buf + 8);
			clear_uart_buf();
			if (isDebug) {
				sprintf((char*) tx, "fan 2 speed: %d\n", speed_2);
				HAL_UART_Transmit(&huart1, tx, strlen((char*) tx), 200);
			}
		}

		// DOOR command
		else if (strlen((char*) uart_buf) == 7
				&& strncmp((char*) uart_buf, "c:d:1:", 6) == 0) {
			door1 = atoi((char*) uart_buf + 6);
			clear_uart_buf();
			if (isDebug) {
				sprintf((char*) tx, "door 1 active: %d\n", door1);
				HAL_UART_Transmit(&huart1, tx, strlen((char*) tx), 200);
			}
			Response();
		} else if (strlen((char*) uart_buf) == 7
				&& strncmp((char*) uart_buf, "c:d:2:", 6) == 0) {
			door2 = atoi((char*) uart_buf + 6);
			clear_uart_buf();
			if (isDebug) {
				sprintf((char*) tx, "door 2 active: %d\n", door2);
				HAL_UART_Transmit(&huart1, tx, strlen((char*) tx), 200);
			}
			Response();
		} else if (strlen((char*) uart_buf) == 9
				&& strncmp((char*) uart_buf, "c:d:1:m:", 8) == 0) {
			d_done = 1;
			d_mod = atoi((char*) uart_buf + 8);
			clear_uart_buf();
			if (isDebug) {
				sprintf((char*) tx, "door 1 mode: %d\n", d_mod);
				HAL_UART_Transmit(&huart1, tx, strlen((char*) tx), 200);
			}
		} else if (strlen((char*) uart_buf) == 9
				&& strncmp((char*) uart_buf, "c:d:2:m:", 8) == 0) {
			d_done_2 = 1;
			d_mod_2 = atoi((char*) uart_buf + 8);
			clear_uart_buf();
			if (isDebug) {
				sprintf((char*) tx, "door 2 mode: %d\n", d_mod_2);
				HAL_UART_Transmit(&huart1, tx, strlen((char*) tx), 200);
			}
		} else if (strlen((char*) uart_buf) == 9
				&& strncmp((char*) uart_buf, "c:d:1:s:", 8) == 0) {
			d_done = 1;
			door_state = atoi((char*) uart_buf + 8);
			clear_uart_buf();
			if (isDebug) {
				sprintf((char*) tx, "door 1 state: %d\n", door_state);
				HAL_UART_Transmit(&huart1, tx, strlen((char*) tx), 200);
			}
		} else if (strlen((char*) uart_buf) == 9
				&& strncmp((char*) uart_buf, "c:d:2:s:", 8) == 0) {
			d_done_2 = 1;
			door_state_2 = atoi((char*) uart_buf + 8);
			clear_uart_buf();
			if (isDebug) {
				sprintf((char*) tx, "door 2 state: %d\n", door_state_2);
				HAL_UART_Transmit(&huart1, tx, strlen((char*) tx), 200);
			}
		} else if (strncmp((char*) uart_buf, "c:b:s:", 6) == 0
				&& strlen((char*) uart_buf) == 7) {
			buz_done = 1;
			buz_state = atoi((char*) uart_buf + 6);
			clear_uart_buf();
			if (isDebug) {
				sprintf((char*) tx, "buz state: %d\n", buz_state);
				HAL_UART_Transmit(&huart1, tx, strlen((char*) tx), 200);
			}
		} else if (strncmp((char*) uart_buf, "c:d:s:", 6) == 0
				&& strlen((char*) uart_buf) == 7) {
			isDebug = atoi((char*) uart_buf + 6);
			clear_uart_buf();
			if (isDebug) {
				sprintf((char*) tx, "Debug state: %d\n", isDebug);
				HAL_UART_Transmit(&huart1, tx, strlen((char*) tx), 200);
			}
		} else {
			clear_uart_buf();
			if (isDebug) {
				sprintf((char*) tx, "Invalid Command!\n");
				HAL_UART_Transmit(&huart1, tx, strlen((char*) tx), 200);
			}
		}
	}
}

void control_door() {
	if (d_done) {
		if (d_mod) {
			door_state = HAL_GPIO_ReadPin(GPIOB, GPIO_PIN_0);
			if (door_state)
				__HAL_TIM_SetCompare(&htim1, TIM_CHANNEL_1, 15);
			else
				__HAL_TIM_SetCompare(&htim1, TIM_CHANNEL_1, 25);
		} else {
			if (door_state)
				__HAL_TIM_SetCompare(&htim1, TIM_CHANNEL_1, 15);
			else
				__HAL_TIM_SetCompare(&htim1, TIM_CHANNEL_1, 25);
		}
		d_done = 0;
		Response();
	}
	if (d_done_2) {
		if (d_mod_2) {
			door_state_2 = HAL_GPIO_ReadPin(GPIOA, GPIO_PIN_2);
			if (door_state_2)
				__HAL_TIM_SetCompare(&htim1, TIM_CHANNEL_4, 5);
			else
				__HAL_TIM_SetCompare(&htim1, TIM_CHANNEL_4, 15);
		} else {
			if (door_state_2)
				__HAL_TIM_SetCompare(&htim1, TIM_CHANNEL_4, 5);
			else
				__HAL_TIM_SetCompare(&htim1, TIM_CHANNEL_4, 15);
		}
		d_done_2 = 0;
		Response();
	}
}

void en_motor() {
	if (f_done) {
		if (speed == 0) {
			__HAL_TIM_SetCompare(&htim3, TIM_CHANNEL_1, 0);
		} else if (speed == 1) {
			__HAL_TIM_SetCompare(&htim3, TIM_CHANNEL_1, 200);
		} else if (speed == 2) {
			__HAL_TIM_SetCompare(&htim3, TIM_CHANNEL_1, 400);
		} else if (speed == 3) {
			__HAL_TIM_SetCompare(&htim3, TIM_CHANNEL_1, 600);
		} else if (speed == 4) {
			__HAL_TIM_SetCompare(&htim3, TIM_CHANNEL_1, 800);
		} else if (speed == 5) {
			__HAL_TIM_SetCompare(&htim3, TIM_CHANNEL_1, 999);
		}
//		sprintf((char*) tx, "fan 1x speed: %d\n", speed);
//		HAL_UART_Transmit(&huart1, tx, strlen((char*) tx), 200);
		f_done = 0;
		Response();
	}
	if (f_done_2) {
		if (speed_2 == 0) {
			__HAL_TIM_SetCompare(&htim3, TIM_CHANNEL_2, 0);
		} else if (speed_2 == 1) {
			__HAL_TIM_SetCompare(&htim3, TIM_CHANNEL_2, 200);
		} else if (speed_2 == 2) {
			__HAL_TIM_SetCompare(&htim3, TIM_CHANNEL_2, 400);
		} else if (speed_2 == 3) {
			__HAL_TIM_SetCompare(&htim3, TIM_CHANNEL_2, 600);
		} else if (speed_2 == 4) {
			__HAL_TIM_SetCompare(&htim3, TIM_CHANNEL_2, 800);
		} else if (speed_2 == 5) {
			__HAL_TIM_SetCompare(&htim3, TIM_CHANNEL_2, 999);
		}
		f_done_2 = 0;
		Response();
	}
}

void motor_get_speed() {
	HAL_Delay(200);
	en_cnt_2 = __HAL_TIM_GetCounter(&htim4);
	en_cnt = __HAL_TIM_GetCounter(&htim5);
	HAL_Delay(100);
	motor_speed_2 = (__HAL_TIM_GetCounter(&htim4) - en_cnt_2) * 600 / 384; //encoder cnt increase 384 when complete 1 round
	motor_speed = (__HAL_TIM_GetCounter(&htim5) - en_cnt) * 600 / 384;
//	sprintf((char*) tx, "\n%d %d\n", motor_speed_2, check_speed(motor_speed_2));
//	HAL_UART_Transmit(&huart1, tx, strlen((char*) tx), 200);
	if (check_speed(motor_speed) != speed)
		motor_speed = -1;
	else
		motor_speed = speed;
	if (check_speed(motor_speed_2) != speed_2)
		motor_speed_2 = -1;
	else
		motor_speed_2 = speed_2;
}

uint8_t check_speed(int encoder_val) {

	if (encoder_val < 100)
		return 0;
	else if (encoder_val >= 600 && encoder_val < 1650)
		return 1;
	else if (encoder_val >= 1650 && encoder_val < 2750)
		return 2;
	else if (encoder_val >= 2750 && encoder_val < 4150)
		return 3;
	else if (encoder_val >= 4150 && encoder_val < 5200)
		return 4;
	else
		return 5;
}

void control_led() {
	if (l_done) {
		if (led_mod) {
			HAL_Delay(300);
			led_state = HAL_GPIO_ReadPin(GPIOA, GPIO_PIN_3);
			HAL_GPIO_WritePin(GPIOB, GPIO_PIN_10, led_state);
		} else {
			HAL_GPIO_WritePin(GPIOB, GPIO_PIN_10, led_state);
		}
		l_done = 0;
		Response();
	}
	if (l_done_2) {
		if (led_mod_2) {
			HAL_Delay(300);
			led_state_2 = HAL_GPIO_ReadPin(GPIOB, GPIO_PIN_1);
			HAL_GPIO_WritePin(GPIOB, GPIO_PIN_3, led_state_2);
		} else {
			HAL_GPIO_WritePin(GPIOB, GPIO_PIN_3, led_state_2);
		}
		l_done_2 = 0;
		Response();
	}
}

void Blink_Led() {
	if (g_sys_tick - led_tick >= 1000) {
//		getADC_value();
		clear_uart_buf();
		HAL_GPIO_TogglePin(GPIOC, GPIO_PIN_13);
		led_tick = g_sys_tick;
	}
}

void warning() {
	if (adc_val > 1000) {
		buz_lvl = 1;
	} else
		buz_lvl = 0;
}

//void buzzer() {
//	if (buz_done) {
//		warning();
//		if (buz_state) {
//			if (buz_lvl) {
//				HAL_GPIO_WritePin(GPIOB, GPIO_PIN_2, 1);
//			} else {
//				buz_state = 0;
//			}
//		}
//	}
//}

void buzzer() {
	if (buz_state) {
		alarm();
	} else {
		HAL_GPIO_WritePin(GPIOB, GPIO_PIN_2, 1);
	}
}

void alarm() {
	if (g_sys_tick - buz_tick > 1000) {
		HAL_GPIO_TogglePin(GPIOB, GPIO_PIN_2);
		buz_tick = g_sys_tick;
	}
}

void delay_us(uint32_t us) {
	__HAL_TIM_SetCounter(&htim2, 0);
	while (__HAL_TIM_GetCounter(&htim2) < us)
		;
}

void clear_uart_buf() {
	memset(uart_buf, 0, strlen((char*) uart_buf));
	uart_buf_cnt = 0;
}

void init_dht22() {
	gpio_set_mode(OUTPUT);
	HAL_GPIO_WritePin(GPIOB, GPIO_PIN_9, 1);
}

void dht22_GetValue(dht22 *dht) {
	uint8_t bytes[5];

	HAL_GPIO_WritePin(GPIOB, GPIO_PIN_9, 0);
	delay_us(1000);
	HAL_GPIO_WritePin(GPIOB, GPIO_PIN_9, 1);
	delay_us(20);

	gpio_set_mode(INPUT);

//	delay_us(40);
//	if (!HAL_GPIO_ReadPin(GPIOB, GPIO_PIN_9)) {
//		sprintf((char*) tx, "Err1");
//		HAL_UART_Transmit(&huart1, tx, strlen((char*) tx), 200);
//		tem = -1;
//		hum = -1;
//		return;				// pb9 should be 0
//	}
//
//	delay_us(80);
//
//	if (HAL_GPIO_ReadPin(GPIOB, GPIO_PIN_9)) {
//		sprintf((char*) tx, "Err2");
//		HAL_UART_Transmit(&huart1, tx, strlen((char*) tx), 200);
//		tem = -1;
//		hum = -1;
//		return;				// pb9 should be 1
//	}
//	while(HAL_GPIO_ReadPin(GPIOB, GPIO_PIN_9));					// wait input become low
	delay_us(120);

	for (int j = 0; j < 5; j++) {
		uint8_t result = 0;
		for (int i = 0; i < 8; i++) { //for each bit in each byte (8 total)
			time_out = g_sys_tick;					// wait input become high
			while (!HAL_GPIO_ReadPin(GPIOB, GPIO_PIN_9)) {
				if (g_sys_tick - time_out >= DHT_TIMEOUT) {
					if (isDebug) {
						sprintf((char*) tx, "input h");
						HAL_UART_Transmit(&huart1, tx, strlen((char*) tx), 200);
					}
					tem = -1;
					hum = -1;
					init_dht22();
					return;
				}
			}
			delay_us(30);
			if (HAL_GPIO_ReadPin(GPIOB, GPIO_PIN_9))// if input still high after 30us -> bit 1
				//result |= (1 << (7-i));
				result = (result << 1) | 0x01;
			else
				// else bit 0
				result = result << 1;
			time_out = g_sys_tick;
			while (HAL_GPIO_ReadPin(GPIOB, GPIO_PIN_9))	// wait dht22 transmit bit 1 complete
			{
				if (g_sys_tick - time_out >= DHT_TIMEOUT) {
					if (isDebug) {
						sprintf((char*) tx, "tsm cplt");
						HAL_UART_Transmit(&huart1, tx, strlen((char*) tx), 200);
					}
					tem = -1;
					hum = -1;
					init_dht22();
					return;
				}
			}
		}
		bytes[j] = result;
	}

	init_dht22();

	dht->hum = bytes[0];
	dht->hum0 = bytes[1];
	dht->tem = bytes[2];
	dht->tem0 = bytes[3];
	dht->check_sum = bytes[4];

	uint16_t check = (uint16_t) bytes[0] + (uint16_t) bytes[1]
			+ (uint16_t) bytes[2] + (uint16_t) bytes[3];
	if ((check % 256) != bytes[4]) {
		if (isDebug) {
			sprintf((char*) tx, "Err cs");
			HAL_UART_Transmit(&huart1, tx, strlen((char*) tx), 200);
		}
		tem = -1;
		hum = -1;
		init_dht22();
		return;							// incorrect checksum
	}

	uint16_t t = ((uint16_t) dht->tem << 8) | ((uint16_t) dht->tem0);
	uint16_t h = ((uint16_t) dht->hum << 8) | ((uint16_t) dht->hum0);

	tem = (float) t / 10;
	hum = (float) h / 10;
}

void HAL_GPIO_EXTI_Callback(uint16_t GPIO_Pin) {
	UNUSED(GPIO_Pin);
	if (GPIO_Pin == GPIO_PIN_0) {				// sr501 pin
		if (g_sys_tick - btn_tick >= 500) {
			if (d_mod)
				d_done = 1;
			btn_tick = g_sys_tick;
		}
	} else if (GPIO_Pin == GPIO_PIN_2) {			// sr501 2 pin
		if (g_sys_tick - btn_tick >= 500) {
			if (d_mod_2)
				d_done_2 = 1;
			btn_tick = g_sys_tick;
		}
	} else if (GPIO_Pin == GPIO_PIN_3) {			// light sensor pin
		if (g_sys_tick - lss_tick >= 500) {
			if (led_mod)
				l_done = 1;
			lss_tick = g_sys_tick;
		}
	} else if (GPIO_Pin == GPIO_PIN_1) {			// light sensor 2 pin
		if (g_sys_tick - lss_tick >= 500) {
			if (led_mod_2)
				l_done_2 = 1;
			lss_tick = g_sys_tick;
		}
	} else if (GPIO_Pin == GPIO_PIN_4) {				// door button
		if (g_sys_tick - btn_tick >= 500) {
			d_mod = 0;
			door_state ^= 1;
			d_done = 1;
			btn_tick = g_sys_tick;
		}
	} else if (GPIO_Pin == GPIO_PIN_8) {				// door 2 button
		if (g_sys_tick - btn_tick >= 500) {
			d_mod_2 = 0;
			door_state_2 ^= 1;
			d_done_2 = 1;
			btn_tick = g_sys_tick;
		}
	} else if (GPIO_Pin == GPIO_PIN_14) {				// light button
		if (g_sys_tick - btn_tick >= 500) {
			led_mod = 0;
			led_state ^= 1;
			l_done = 1;
			btn_tick = g_sys_tick;
		}
	} else if (GPIO_Pin == GPIO_PIN_15) {				// light button 2
		if (g_sys_tick - btn_tick >= 500) {
			led_mod_2 = 0;
			led_state_2 ^= 1;
			l_done_2 = 1;
			btn_tick = g_sys_tick;
		}
	} else if (GPIO_Pin == GPIO_PIN_12) {				// fan button
		if (g_sys_tick - btn_tick >= 500) {
			f_done = 1;
			speed++;
			if (speed == 6)
				speed = 0;
			btn_tick = g_sys_tick;
		}
	} else if (GPIO_Pin == GPIO_PIN_5) {				// fan2 button
		if (g_sys_tick - btn_tick >= 500) {
			f_done_2 = 1;
			speed_2++;
			if (speed_2 == 6)
				speed_2 = 0;
			btn_tick = g_sys_tick;
		}
	}
}

void HAL_UART_RxCpltCallback(UART_HandleTypeDef *huart) {
	if (huart->Instance == huart1.Instance) {
		if (uart_buf_cnt < sizeof(uart_buf)) {
			uart_buf[uart_buf_cnt] = uart_chr;
		}
		uart_last_rcv = g_sys_tick;
		uart_buf_cnt++;
		HAL_UART_Receive_IT(&huart1, &uart_chr, sizeof(uart_chr));
	}
}

void HAL_TIM_PeriodElapsedCallback(TIM_HandleTypeDef *htim) {
	if (htim->Instance == htim3.Instance) {
		g_sys_tick++;
		if (g_sys_tick >= 0xFFFFFFFF)
			g_sys_tick = 0;
	}
}

void HAL_SPI_TxRxCpltCallback(SPI_HandleTypeDef *hspi) {
	if (hspi->Instance == hspi2.Instance) {
		rx_spi_flg = 1;
	}
}

void getADC_value() {
	HAL_ADC_Start(&hadc1);
	HAL_ADC_PollForConversion(&hadc1, 1000);
	adc_val = HAL_ADC_GetValue(&hadc1);
	HAL_ADC_Stop(&hadc1);
	buz_done = 1;
}
/* USER CODE END 4 */

void Error_Handler(void) {
	__disable_irq();
	while (1) {
	}
}
